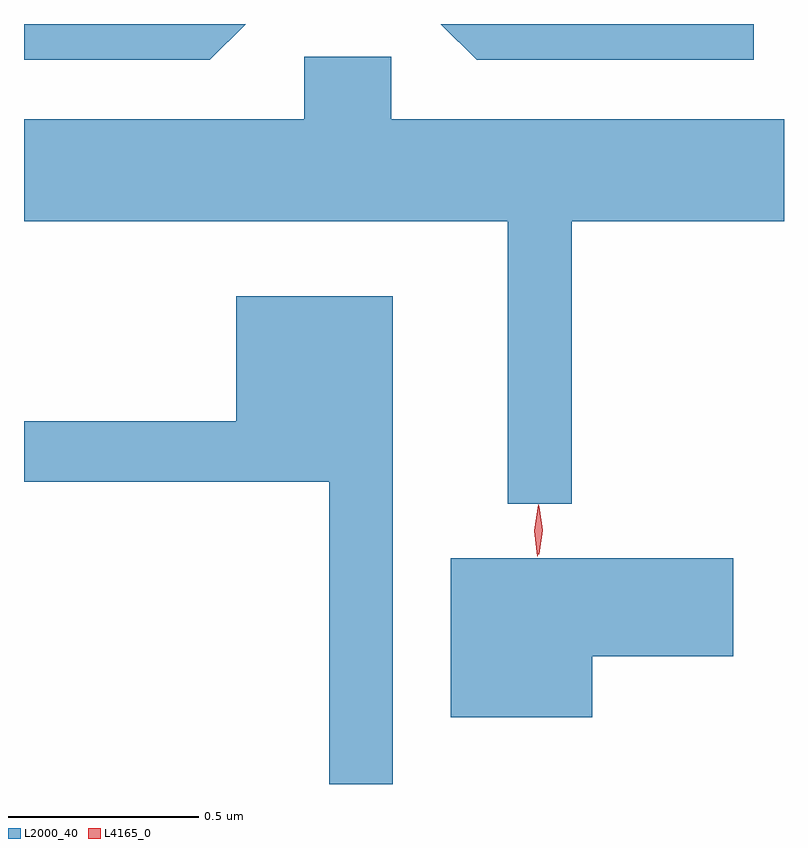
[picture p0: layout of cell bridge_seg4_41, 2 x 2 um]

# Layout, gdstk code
import gdstk
lib = gdstk.Library(unit=1e-6, precision=1e-09)
def P(c, l, *ps):  # polygons
    for p in ps: c.add(gdstk.Polygon(p, *l))
L2000_40 = (2000, 40)
L4165_0 = (4165, 0)

bridge_seg4_41 = lib.new_cell('bridge_seg4_41')
P(bridge_seg4_41, L2000_40, [(1277.961,1372.955),(1277.378,1372.955),(1277.378,1372.861),(1277.867,1372.861)],
  [(1279.299,1372.955),(1278.475,1372.955),(1278.569,1372.861),(1279.299,1372.861)],
  [(1278.819,1372.436),(1279.378,1372.436),(1279.378,1372.704),(1278.344,1372.704),(1278.344,1372.869),(1278.116,1372.869),(1278.116,1372.704),(1277.378,1372.704),(1277.378,1372.436),(1278.651,1372.436),(1278.651,1371.693),(1278.819,1371.693)],
  [(1278.349,1372.239),(1277.936,1372.239),(1277.936,1371.909),(1277.378,1371.909),(1277.378,1371.751),(1278.181,1371.751),(1278.181,1370.955),(1278.349,1370.955)],
  [(1278.874,1371.291),(1279.244,1371.291),(1279.244,1371.549),(1278.501,1371.549),(1278.501,1371.131),(1278.874,1371.131)])
P(bridge_seg4_41, L4165_0, [(1278.729,1371.554),(1278.721,1371.622),(1278.731,1371.69),(1278.732,1371.69),(1278.732,1371.69),(1278.741,1371.622),(1278.73,1371.554),(1278.73,1371.554)],
  [(1278.733,1371.56),(1278.733,1371.56),(1278.723,1371.623),(1278.733,1371.686),(1278.733,1371.687),(1278.734,1371.686),(1278.743,1371.623),(1278.734,1371.56)])

lib.write_gds('bridge_seg4_41.gds')
